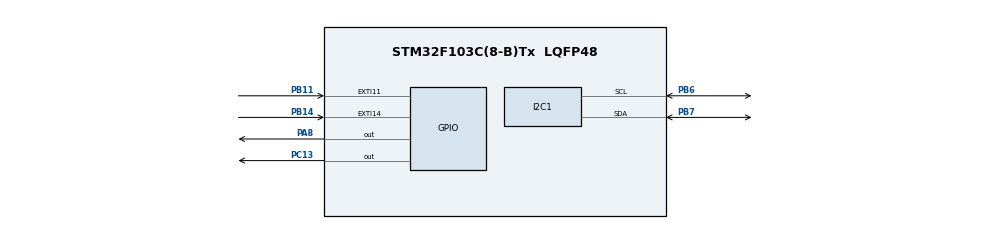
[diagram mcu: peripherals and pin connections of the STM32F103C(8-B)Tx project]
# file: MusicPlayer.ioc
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Mcu.Family=STM32F1
Mcu.Name=STM32F103C(8-B)Tx
Mcu.Package=LQFP48
NVIC.EXTI15_10_IRQn=true\:0\:0\:false\:false\:true\:true\:true\:true
NVIC.PriorityGroup=NVIC_PRIORITYGROUP_4
PA13.Mode=Serial_Wire
PA13.Signal=SYS_JTMS-SWDIO
PA14.Mode=Serial_Wire
PA14.Signal=SYS_JTCK-SWCLK
PA8.Signal=GPIO_Output
PB11.GPIO_ModeDefaultEXTI=GPIO_MODE_IT_RISING_FALLING
PB11.Signal=GPXTI11
PB14.GPIO_ModeDefaultEXTI=GPIO_MODE_IT_RISING_FALLING
PB14.Signal=GPXTI14
PB6.Mode=I2C
PB6.Signal=I2C1_SCL
PB7.Mode=I2C
PB7.Signal=I2C1_SDA
PC13-TAMPER-RTC.Signal=GPIO_Output
ProjectManager.HeapSize=0x200
ProjectManager.StackSize=0x400
ProjectManager.TargetToolchain=MDK-ARM V5.32
RCC.APB1Freq_Value=8000000
RCC.APB2Freq_Value=8000000
board=custom

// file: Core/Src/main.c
/* USER CODE BEGIN Header */
/**
  ******************************************************************************
  * @file           : main.c
  * @brief          : Main program body
  ******************************************************************************
  * @attention
  *
  * Copyright (c) 2025 STMicroelectronics.
  * All rights reserved.
  *
  * This software is licensed under terms that can be found in the LICENSE file
  * in the root directory of this software component.
  * If no LICENSE file comes with this software, it is provided AS-IS.
  *
  ******************************************************************************
  */
/* USER CODE END Header */
#include "main.h"
#include "i2c.h"
#include "gpio.h"

/* USER CODE BEGIN Includes */
#include "buzzer.h"
#include "driver_oled.h"
/* USER CODE END Includes */

/* USER CODE BEGIN PTD */

struct soft_timer{
	uint32_t timeout;
	void *args;
	void (*func)(void *);
};

/* USER CODE END PTD */

/* USER CODE BEGIN PD */
extern uint8_t songname[3][10][16];
extern uint8_t songcount[3];
extern uint8_t icon[2][16];
/* USER CODE END PD */

/* USER CODE BEGIN PM */

void keytimeroutfun(void *args);
uint8_t key_state = 0; // 0=释放, 1=按下
uint32_t key_press_start = 0;

struct soft_timer keytimer={~0,NULL,keytimeroutfun};
char* way[2]={"Play in order","Repeat one song"};
uint8_t iscycle=0;//是否是循环播放模式
int songnum=0;//播放乐曲的编号

//计时器时间到了后触发
void keytimeroutfun(void *args)
{
	keytimer.timeout=~0;//把定时器的时间设置为无限大，防止一直累加

	if(key_state == 0) // 如果当前是释放状态，说明是按键释放事件
  {
    uint32_t press_duration = HAL_GetTick() - key_press_start;

    if(press_duration > 1000) // 长按超过2秒
    {
        iscycle = !iscycle;
        OLED_PrintString(0,0,way[iscycle]);
    }
    else if(press_duration > 50) // 短按，大于50ms避免误触
    {
      // 切换下一曲
      isrnext=1;
			if(iscycle)
			{
				songnum++;
				songnum%=3;
			}
    }
  }

}
//修改超时时间
void mod_timer(struct soft_timer *ptimer,uint32_t timeout)
{
	ptimer->timeout=HAL_GetTick()+timeout;
}
//检查是否超时
void checktimer(void)
{
	if(HAL_GetTick()>=keytimer.timeout)
	{
		//时间到了
		keytimer.func(keytimer.args);
	}
}

void HAL_GPIO_EXTI_Callback(uint16_t GPIO_Pin)
{
	if(GPIO_Pin==GPIO_PIN_14)
	{
    // 记录当前按键状态和时间
    if(HAL_GPIO_ReadPin(GPIOB,GPIO_PIN_14)==GPIO_PIN_RESET) // 按下
    {
      key_state = 1;
      key_press_start = HAL_GetTick();
    }
    else // 释放
    {
      key_state = 0;
    }
		mod_timer(&keytimer,30);//延时一下再把按键次数加一，消除按键抖动
	}
	else if (GPIO_Pin==GPIO_PIN_11)
	{
		if(HAL_GPIO_ReadPin(GPIOB,GPIO_PIN_11)==GPIO_PIN_SET)//黑暗状态
			speed=2;
		else
			speed=1;
	}
}

/* USER CODE END PM */

void SystemClock_Config(void);

int main(void)
{

  /* MCU Configuration--------------------------------------------------------*/

  /* Reset of all peripherals, Initializes the Flash interface and the Systick. */
  HAL_Init();

  /* Configure the system clock */
  SystemClock_Config();

  /* Initialize all configured peripherals */
  MX_GPIO_Init();
  MX_I2C1_Init();

  /* Infinite loop */
  /* USER CODE BEGIN WHILE */
	OLED_Init();
	OLED_Clear();
	OLED_PrintString(0,0,way[iscycle]);
	OLED_PrintString(0,5,"NO.");
	OLED_PrintElse(2,3,icon,1);
  while (1)
  {
		OLED_PrintSignedVal(3,5,songnum);
		OLED_ClearLine(5,5);
		OLED_PrintElse(5,5,songname[songnum],songcount[songnum]);
		MusicStart(songnum);
		if(iscycle==0)
		{
			songnum++;
			songnum%=3;
		}
    /* USER CODE END WHILE */

  }
}

void SystemClock_Config(void)
{
  RCC_OscInitTypeDef RCC_OscInitStruct = {0};
  RCC_ClkInitTypeDef RCC_ClkInitStruct = {0};

  /** Initializes the RCC Oscillators according to the specified parameters
  * in the RCC_OscInitTypeDef structure.
  */
  RCC_OscInitStruct.OscillatorType = RCC_OSCILLATORTYPE_HSI;
  RCC_OscInitStruct.HSIState = RCC_HSI_ON;
  RCC_OscInitStruct.HSICalibrationValue = RCC_HSICALIBRATION_DEFAULT;
  RCC_OscInitStruct.PLL.PLLState = RCC_PLL_NONE;
  if (HAL_RCC_OscConfig(&RCC_OscInitStruct) != HAL_OK)
  {
    Error_Handler();
  }

  /** Initializes the CPU, AHB and APB buses clocks
  */
  RCC_ClkInitStruct.ClockType = RCC_CLOCKTYPE_HCLK|RCC_CLOCKTYPE_SYSCLK
                              |RCC_CLOCKTYPE_PCLK1|RCC_CLOCKTYPE_PCLK2;
  RCC_ClkInitStruct.SYSCLKSource = RCC_SYSCLKSOURCE_HSI;
  RCC_ClkInitStruct.AHBCLKDivider = RCC_SYSCLK_DIV1;
  RCC_ClkInitStruct.APB1CLKDivider = RCC_HCLK_DIV1;
  RCC_ClkInitStruct.APB2CLKDivider = RCC_HCLK_DIV1;

  if (HAL_RCC_ClockConfig(&RCC_ClkInitStruct, FLASH_LATENCY_0) != HAL_OK)
  {
    Error_Handler();
  }
}

void Error_Handler(void)
{
  __disable_irq();
  while (1)
  {
  }
}
